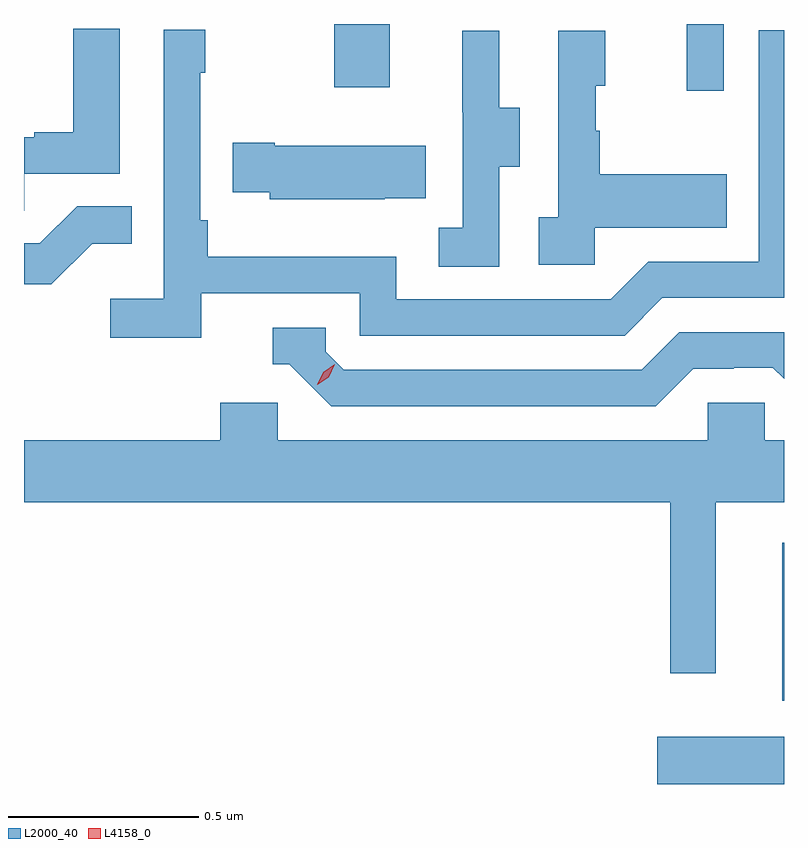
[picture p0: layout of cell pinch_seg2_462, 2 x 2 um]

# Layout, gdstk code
import gdstk
lib = gdstk.Library(unit=1e-6, precision=1e-09)
def R(c, l, rs):  # rectangles x0, y0, x1, y1
    for r in rs: c.add(gdstk.rectangle(r[:2], r[2:], *l))
def P(c, l, *ps):  # polygons
    for p in ps: c.add(gdstk.Polygon(p, *l))
L2000_40 = (2000, 40)
L4158_0 = (4158, 0)

pinch_seg2_462 = lib.new_cell('pinch_seg2_462')
R(pinch_seg2_462, L2000_40, [(903.716,612.263,904.05,612.388), (904.046,612.482,904.05,612.898), (903.794,614.088,903.891,614.263), (902.866,614.097,903.013,614.263)])
P(pinch_seg2_462, L2000_40, [(902.051,613.869),(902.302,613.869),(902.302,614.251),(902.18,614.251),(902.18,613.978),(902.077,613.978),(902.077,613.965),(902.05,613.965),(902.05,613.771),(902.051,613.771)],
  [(902.516,613.554),(902.934,613.554),(902.934,613.443),(903.631,613.443),(903.73,613.542),(904.05,613.542),(904.05,614.247),(903.984,614.247),(903.984,613.638),(903.693,613.638),(903.594,613.539),(903.03,613.539),(903.03,613.651),(902.534,613.651),(902.534,613.747),(902.514,613.747),(902.514,614.135),(902.527,614.135),(902.527,614.248),(902.418,614.248),(902.418,613.54),(902.277,613.54),(902.277,613.438),(902.516,613.438)],
  [(903.3,613.888),(903.355,613.888),(903.355,614.043),(903.301,614.043),(903.301,614.245),(903.203,614.245),(903.203,614.031),(903.204,614.031),(903.204,613.727),(903.141,613.727),(903.141,613.624),(903.3,613.624)],
  [(903.552,613.727),(903.899,613.727),(903.899,613.867),(903.565,613.867),(903.565,613.982),(903.555,613.982),(903.555,614.1),(903.58,614.1),(903.58,614.245),(903.456,614.245),(903.456,613.754),(903.405,613.754),(903.405,613.629),(903.552,613.629)],
  [(902.999,613.805),(903.107,613.805),(903.107,613.942),(902.71,613.942),(902.71,613.95),(902.599,613.95),(902.599,613.82),(902.697,613.82),(902.697,613.802),(902.999,613.802)],
  [(902.229,613.685),(902.333,613.685),(902.333,613.784),(902.19,613.784),(902.092,613.686),(902.05,613.686),(902.05,613.578),(902.122,613.578)],
  [(903.811,613.356),(903.918,613.356),(903.918,613.359),(904.021,613.359),(904.05,613.33),(904.05,613.452),(903.774,613.452),(903.675,613.353),(902.892,613.353),(902.844,613.401),(902.844,613.464),(902.705,613.464),(902.705,613.368),(902.748,613.368),(902.859,613.257),(903.712,613.257)],
  [(902.567,613.266),(902.567,613.168),(902.05,613.168),(902.05,613.004),(903.75,613.004),(903.75,612.555),(903.871,612.555),(903.871,613.004),(904.05,613.004),(904.05,613.168),(903.999,613.168),(903.999,613.266),(903.849,613.266),(903.849,613.168),(902.718,613.168),(902.718,613.266)])
P(pinch_seg2_462, L4158_0, [(902.822,613.314),(902.822,613.314),(902.837,613.347),(902.868,613.367),(902.868,613.367),(902.868,613.367),(902.852,613.334),(902.822,613.314)])

lib.write_gds('pinch_seg2_462.gds')
